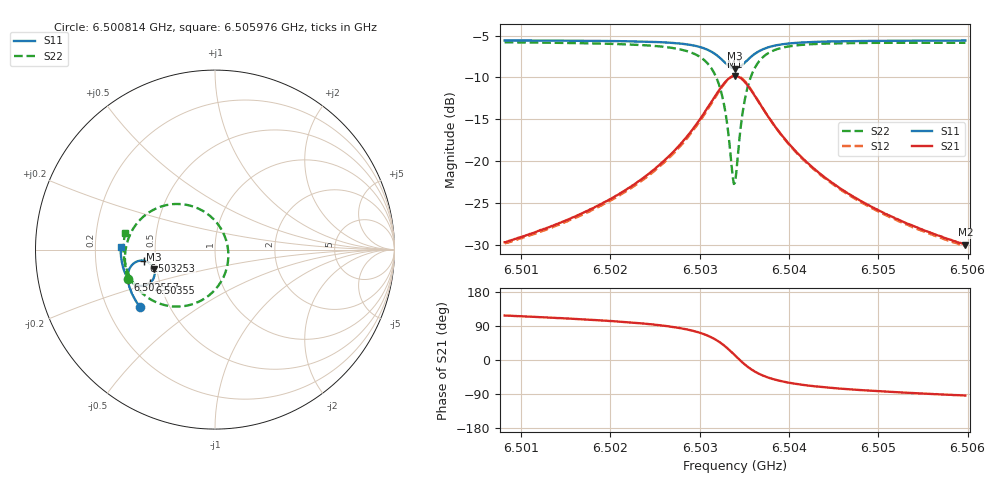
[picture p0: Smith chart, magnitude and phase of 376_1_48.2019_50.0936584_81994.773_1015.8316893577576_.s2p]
#  HZ  S  RI  R  50.00
! Rohde & Schwarz Vector Network Analyzer
! Rohde-Schwarz,ZNB20-2Port,1311601062101988,3.16
! Created: UTC 3/20/2024, 11:52:54 AM
! freq[Hz]  re:S11  im:S11  re:S21  im:S21  re:S12  im:S12  re:S22  im:S22
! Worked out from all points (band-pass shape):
!   401 points, 6.500814 GHz to 6.505976 GHz, reference 50 ohm
!   highest |S21| = -9.83 dB at 6.503395 GHz (marker M1); lowest = -30.0 dB at 6.505976 GHz (marker M2)
!   |S21| within 3 dB of the highest: 6.503138 GHz to 6.503654 GHz (516.4 kHz wide, 0.00794 % of centre)
!   lowest |S11| = -9.0 dB at 6.503395 GHz (marker M3), VSWR 2.11, Z = 24.2 - j6.08 ohm
!   |S11| at or under -10 dB: nowhere
!   |S22| runs from -22.7 to -5.8 dB; largest |S21 - S12| = 0.011
!   S11 on the Smith chart (normalised r, x): 6.500814 GHz: 0.34, -0.30; 6.502557 GHz: 0.33, -0.15; 6.503253 GHz: 0.43, -0.06; 6.50355 GHz: 0.44, -0.20; 6.505976 GHz: 0.31, +0.01
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6.5008145e9  -0.42 -0.3175  -0.015 0.029  -0.0134 0.0291  -0.4856 -0.1664
6.5016791e9  -0.4581 -0.2548  -0.0146 0.0463  -0.0121 0.0459  -0.5012 -0.0767
6.5021565e9  -0.4753 -0.2132  -0.0119 0.0653  -0.00889 0.0643  -0.4993 -0.0106
6.5025437e9  -0.4851 -0.1714  -0.00332 0.0942  0.000315 0.092  -0.4813 0.0642
6.5025566e9  -0.4853 -0.1697  -0.00264 0.0956  0.000877 0.0932  -0.4803 0.0673
6.5028018e9  -0.4848 -0.1346  0.0153 0.1284  0.019 0.1245  -0.4424 0.1366
6.5029824e9  -0.4737 -0.1013  0.0495 0.1642  0.0527 0.1589  -0.375 0.2024
6.5031502e9  -0.4394 -0.0683  0.1261 0.1973  0.1273 0.191  -0.2346 0.2533
6.5032534e9  -0.3973 -0.0614  0.2104 0.1889  0.2105 0.1836  -0.088 0.2264
6.5033051e9  -0.3721 -0.0698  0.2581 0.1616  0.2589 0.157  -0.00871 0.1702
6.5033696e9  -0.3458 -0.0956  0.3054 0.0991  0.3077 0.0941  0.0627 0.0503
6.5033954e9  -0.3394 -0.1098  0.3155 0.0675  0.3185 0.0618  0.0737 -0.00862
6.5034083e9  -0.3376 -0.1175  0.3183 0.0511  0.3215 0.0447  0.0744 -0.0388
6.5034857e9  -0.3432 -0.1616  0.302 -0.0421  0.304 -0.0518  0.0183 -0.2016
6.5035502e9  -0.364 -0.187  0.2602 -0.0956  0.2589 -0.1064  -0.0759 -0.2832
6.5036535e9  -0.4028 -0.202  0.1871 -0.1314  0.1818 -0.1406  -0.223 -0.3173
6.5038212e9  -0.4483 -0.1922  0.1068 -0.1289  0.1 -0.1338  -0.3675 -0.272
6.5040019e9  -0.4754 -0.1709  0.063 -0.1095  0.057 -0.1115  -0.4384 -0.2081
6.50426e9  -0.496 -0.1409  0.0336 -0.0858  0.0288 -0.0862  -0.4814 -0.137
6.5046213e9  -0.5108 -0.1037  0.0156 -0.0642  0.0122 -0.0639  -0.5029 -0.0669
6.5051246e9  -0.5211 -0.0574  0.00502 -0.047  0.00282 -0.0462  -0.5097 0.00303
6.5059763e9  -0.5259 0.0143  -0.00203 -0.0315  -0.00333 -0.0308  -0.5015 0.0916
